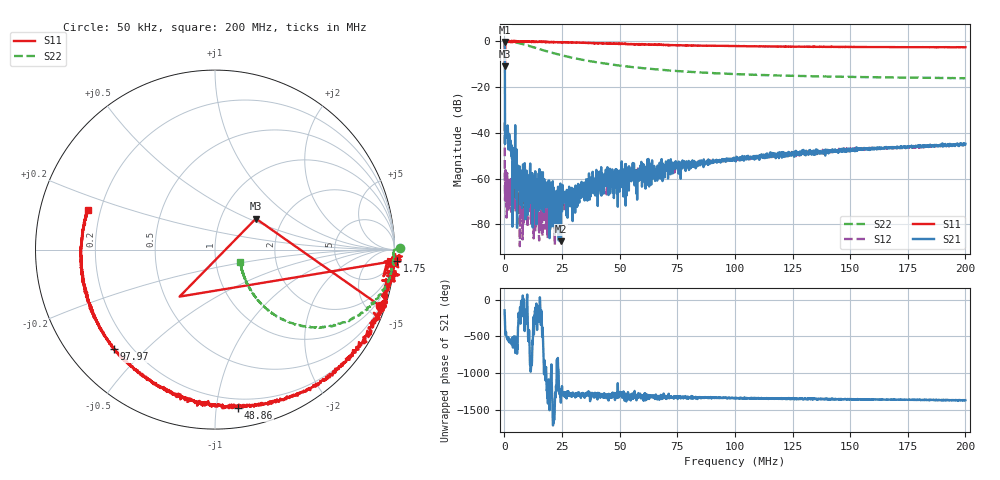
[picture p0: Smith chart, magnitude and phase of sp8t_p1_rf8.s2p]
! 26-Feb-26 11:27:44 AM
! E:\VNA_MEASUREMENTS\SP8T\SP8T_P1_RF8.S2P
! CHANNEL.1
! TR.MEASUREMENT
! CORRECTED.DATA
# GHZ S RI R 50.0
! FREQ.GHZ  S11RE  S11IM  S21RE  S21IM  S12RE  S12IM  S22RE  S22IM
!; PortSelection: Port_12
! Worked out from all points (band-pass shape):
!   2000 points, 50 kHz to 200 MHz, reference 50 ohm
!   highest |S21| = -0.27 dB at 50 kHz (marker M1); lowest = -87.3 dB at 24.46 MHz (marker M2)
!   |S21| within 3 dB of the highest: start of sweep to 154.7 kHz
!   lowest |S11| = -10.9 dB at 150 kHz (marker M3), VSWR 1.80, Z = 73.4 + j27.6 ohm
!   |S11| at or under -10 dB: 141.8 kHz to 223.5 kHz (81.67 kHz wide, 44.7 % of centre)
!   |S22| runs from -16.2 to 0.3 dB; largest |S21 - S12| = 0.96
!   S11 on the Smith chart (normalised r, x): 50 kHz: 0.56, -6.00; 1.75 MHz: -8, -30; 48.86 MHz: 0.13, -1.15; 97.97 MHz: 0.14, -0.40; 200 MHz: 0.15, +0.15
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5e-05  0.919 -0.3124  -0.8086 -0.5344  -0.00583 -0.0158  1.029 0.00983
0.000150025  0.2279 0.1727  -0.2644 0.8246  -0.000594 -0.000694  0.9975 -0.00239
0.0012503  0.9904 -0.0573  -0.0107 -0.00127  0.000736 9.78e-05  0.9968 -0.0862
0.001750425  1.015 -0.0627  -0.00398 0.00173  0.000572 -0.000496  0.9853 -0.1104
0.004451101  0.9927 -0.1601  -0.00101 0.00279  -0.000131 0.000231  0.9112 -0.2574
0.007251801  0.9672 -0.2232  0.000713 -0.000232  0.000233 0.000806  0.8093 -0.3621
0.009952476  0.9514 -0.3185  0.00021 -0.000704  -0.000133 0.000205  0.6952 -0.4118
0.01175293  0.8853 -0.3519  -0.000982 -0.000158  5.14e-05 -8.82e-05  0.6286 -0.4298
0.01315328  0.8765 -0.3955  -0.00042 -0.000168  8.29e-05 9.7e-06  0.5805 -0.4357
0.01415353  0.8799 -0.4316  0.000554 -0.000719  -3.02e-05 -0.000134  0.5514 -0.433
0.0156539  0.8448 -0.4771  -0.00138 -0.000328  -0.000305 -0.000115  0.5057 -0.4308
0.02215553  0.7244 -0.628  -9.04e-05 0.000203  -0.000304 8.34e-05  0.3704 -0.3875
0.0244561  0.6698 -0.6633  3.09e-05 2.99e-05  -0.000181 6.15e-05  0.3383 -0.3684
0.03345835  0.4717 -0.796  -0.000754 0.000401  -0.000506 0.000319  0.2582 -0.3024
0.03925981  0.3348 -0.8496  -0.000936 3.28e-05  -0.000418 0.000692  0.2285 -0.2691
0.04886221  0.129 -0.882  -0.000831 -5.61e-05  -0.000807 0.000751  0.1986 -0.2256
0.06676668  -0.2137 -0.8215  -0.000612 0.00134  -0.000213 0.00126  0.1712 -0.1707
0.09797449  -0.5618 -0.5557  -0.000757 0.00234  -0.000739 0.00238  0.1516 -0.1213
0.100075  -0.5783 -0.5366  -0.000483 0.00256  -0.000727 0.00256  0.1516 -0.1185
0.1333833  -0.7183 -0.2442  -0.000699 0.00379  -0.000362 0.00374  0.1455 -0.0922
0.1666917  -0.7465 0.00885  0.000481 0.00472  0.000644 0.00464  0.1433 -0.0776
0.2  -0.7089 0.2197  0.00127 0.00564  0.00133 0.00549  0.1416 -0.0664
